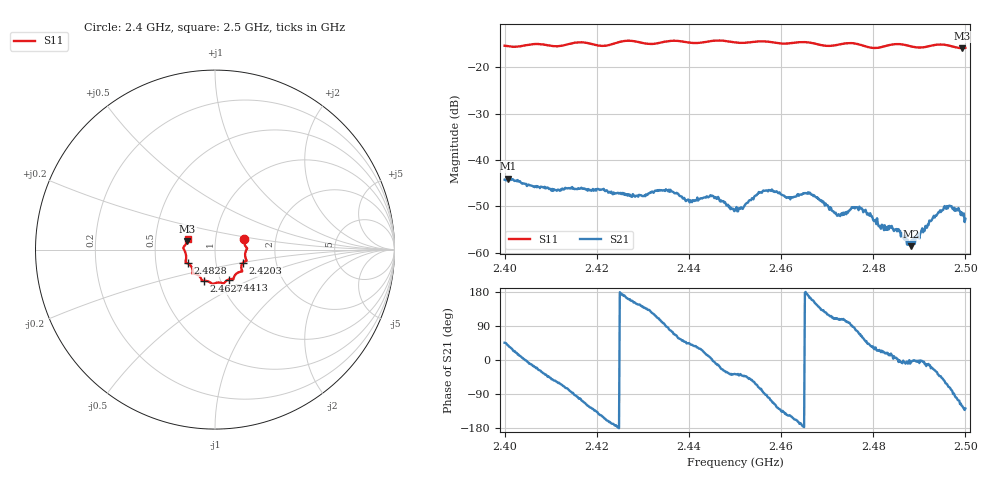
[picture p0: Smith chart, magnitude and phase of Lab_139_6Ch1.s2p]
# Hz S RI R 50
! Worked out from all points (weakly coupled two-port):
!   601 points, 2.4 GHz to 2.5 GHz, reference 50 ohm
!   highest |S21| = -43.98 dB at 2.4008 GHz (marker M1); lowest = -58.6 dB at 2.4882 GHz (marker M2)
!   lowest |S11| = -15.8 dB at 2.4993 GHz (marker M3), VSWR 1.39, Z = 36.5 + j3.61 ohm
!   |S11| at or under -10 dB: start of sweep to end of sweep
!   S12 and S22 are empty: the file has one direction only
!   S11 on the Smith chart (normalised r, x): 2.4 GHz: 1.37, +0.17; 2.4203 GHz: 1.35, -0.20; 2.4413 GHz: 1.09, -0.38; 2.4627 GHz: 0.83, -0.30; 2.4828 GHz: 0.73, -0.11; 2.5 GHz: 0.73, +0.09
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2.4e9  0.1615 0.0584  0.0043 0.00439  0 0  0 0
2.400833e9  0.1617 0.0497  0.00498 0.0039  0 0  0 0
2.410667e9  0.1691 -0.016  0.00285 -0.00393  0 0  0 0
2.416667e9  0.1763 -0.0623  -0.00143 -0.00483  0 0  0 0
2.420333e9  0.1561 -0.0731  -0.00384 -0.00301  0 0  0 0
2.4285e9  0.1461 -0.1226  -0.00354 0.00213  0 0  0 0
2.433333e9  0.1076 -0.148  -0.00162 0.00447  0 0  0 0
2.441333e9  0.0752 -0.1673  0.00295 0.00219  0 0  0 0
2.445167e9  0.0515 -0.187  0.00411 -0.000162  0 0  0 0
2.45e9  0.0304 -0.184  0.00228 -0.00171  0 0  0 0
2.4565e9  -0.0146 -0.1906  -4.76e-05 -0.00466  0 0  0 0
2.462667e9  -0.0615 -0.1738  -0.00357 -0.00173  0 0  0 0
2.466667e9  -0.0745 -0.1683  -0.00393 0.00155  0 0  0 0
2.472333e9  -0.1131 -0.1347  -0.000802 0.0024  0 0  0 0
2.477e9  -0.1249 -0.1251  0.00116 0.00292  0 0  0 0
2.482833e9  -0.153 -0.0767  0.00181 0.000552  0 0  0 0
2.483333e9  -0.1568 -0.0751  0.00174 0.000395  0 0  0 0
2.485333e9  -0.1643 -0.0704  0.0018 6.55e-05  0 0  0 0
2.488167e9  -0.161 -0.0519  0.00117 -0.000129  0 0  0 0
2.4955e9  -0.1752 0.0136  0.0018 -0.00264  0 0  0 0
2.499333e9  -0.1541 0.0482  -0.00133 -0.00215  0 0  0 0
2.5e9  -0.1521 0.0574  -0.00143 -0.00184  0 0  0 0
